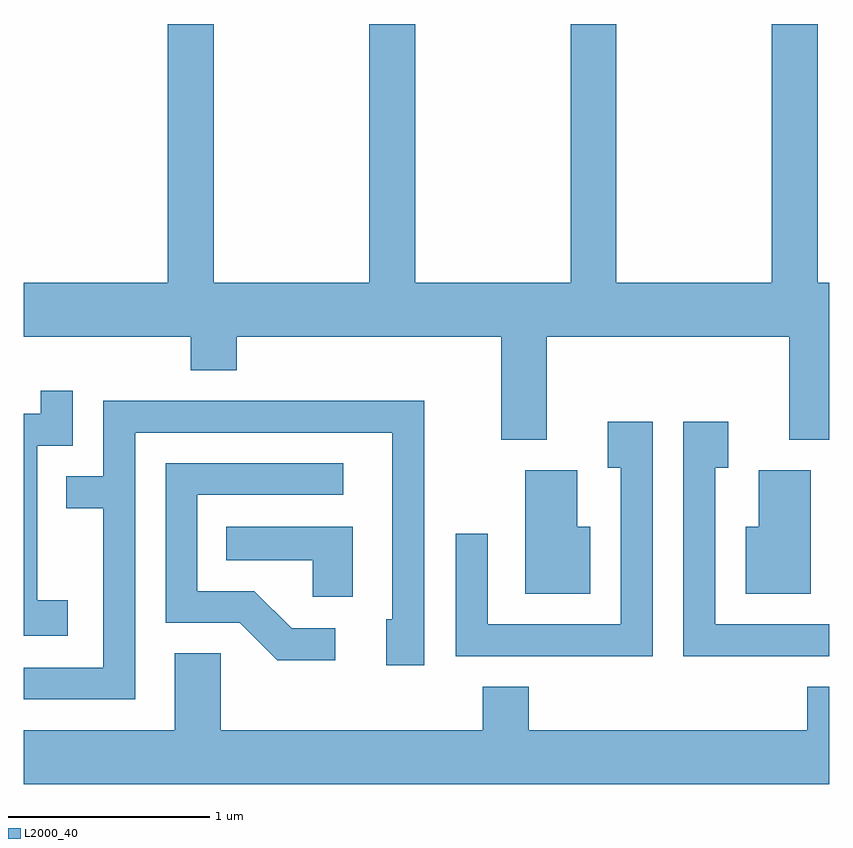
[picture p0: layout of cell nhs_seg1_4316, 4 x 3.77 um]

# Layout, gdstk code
import gdstk
lib = gdstk.Library(unit=1e-6, precision=1e-09)
def P(c, l, *ps):  # polygons
    for p in ps: c.add(gdstk.Polygon(p, *l))
L2000_40 = (2000, 40)

nhs_seg1_4316 = lib.new_cell('nhs_seg1_4316')
P(nhs_seg1_4316, L2000_40, [(318.209,844.076),(319.411,844.076),(319.411,843.566),(319.611,843.566),(319.611,844.344),(319.554,844.344),(319.554,845.629),(319.326,845.629),(319.326,844.344),(318.554,844.344),(318.554,845.629),(318.326,845.629),(318.326,844.344),(317.554,844.344),(317.554,845.629),(317.326,845.629),(317.326,844.344),(316.554,844.344),(316.554,845.629),(316.326,845.629),(316.326,844.344),(315.611,844.344),(315.611,844.076),(316.441,844.076),(316.441,843.911),(316.669,843.911),(316.669,844.076),(317.981,844.076),(317.981,843.566),(318.209,843.566)],
  [(315.829,842.769),(315.679,842.769),(315.679,843.536),(315.854,843.536),(315.854,843.808),(315.696,843.808),(315.696,843.694),(315.611,843.694),(315.611,842.591),(315.829,842.591)],
  [(316.164,843.601),(317.441,843.601),(317.441,842.674),(317.411,842.674),(317.411,842.446),(317.599,842.446),(317.599,843.759),(316.006,843.759),(316.006,843.384),(315.823,843.384),(315.823,843.226),(316.006,843.226),(316.006,842.434),(315.611,842.434),(315.611,842.276),(316.164,842.276)],
  [(319.611,842.649),(319.044,842.649),(319.044,843.426),(319.109,843.426),(319.109,843.654),(318.886,843.654),(318.886,842.491),(319.611,842.491)],
  [(318.734,843.654),(318.511,843.654),(318.511,843.426),(318.576,843.426),(318.576,842.649),(317.914,842.649),(317.914,843.098),(317.756,843.098),(317.756,842.491),(318.734,842.491)],
  [(317.158,842.629),(316.942,842.629),(316.757,842.814),(316.474,842.814),(316.474,843.291),(317.198,843.291),(317.198,843.449),(316.316,843.449),(316.316,842.656),(316.684,842.656),(316.869,842.471),(317.158,842.471)],
  [(318.424,843.134),(318.359,843.134),(318.359,843.414),(318.101,843.414),(318.101,842.801),(318.424,842.801)],
  [(319.519,843.414),(319.261,843.414),(319.261,843.134),(319.196,843.134),(319.196,842.801),(319.519,842.801)],
  [(317.244,843.134),(316.618,843.134),(316.618,842.966),(317.046,842.966),(317.046,842.786),(317.244,842.786)],
  [(319.611,842.339),(319.501,842.339),(319.501,842.124),(318.119,842.124),(318.119,842.339),(317.891,842.339),(317.891,842.124),(316.589,842.124),(316.589,842.504),(316.361,842.504),(316.361,842.124),(315.611,842.124),(315.611,841.856),(319.611,841.856)])

lib.write_gds('nhs_seg1_4316.gds')
